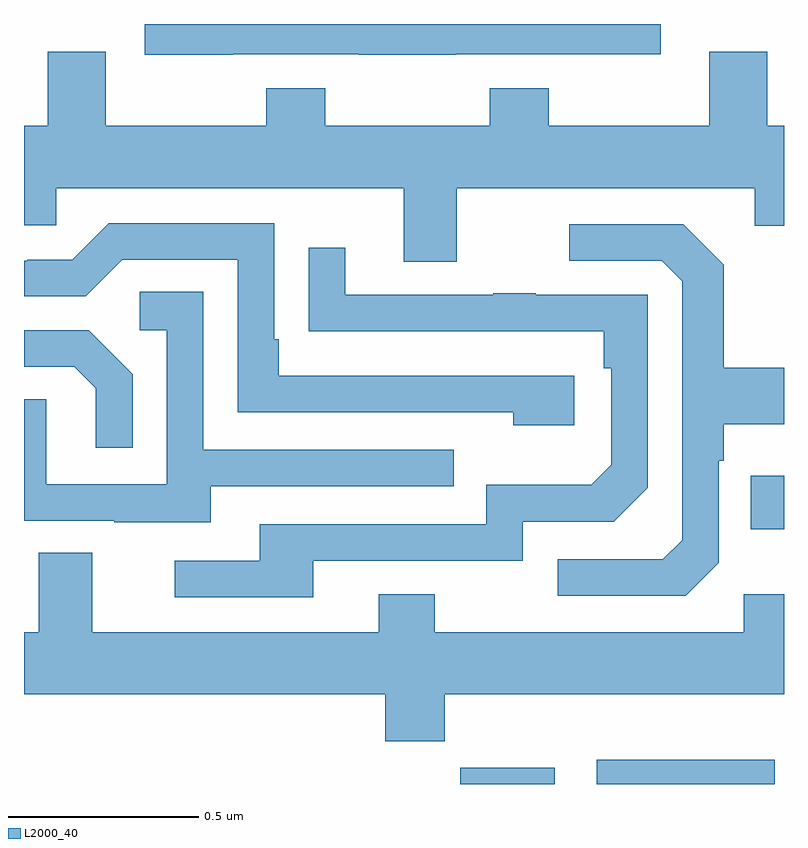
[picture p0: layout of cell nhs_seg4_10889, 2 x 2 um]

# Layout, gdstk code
import gdstk
lib = gdstk.Library(unit=1e-6, precision=1e-09)
def R(c, l, rs):  # rectangles x0, y0, x1, y1
    for r in rs: c.add(gdstk.rectangle(r[:2], r[2:], *l))
def P(c, l, *ps):  # polygons
    for p in ps: c.add(gdstk.Polygon(p, *l))
L2000_40 = (2000, 40)

nhs_seg4_10889 = lib.new_cell('nhs_seg4_10889')
R(nhs_seg4_10889, L2000_40, [(246.148,813.9,246.397,813.943), (246.507,813.9,246.976,813.964), (246.913,814.571,247,814.711)])
P(nhs_seg4_10889, L2000_40, [(245.549,815.82),(245.881,815.82),(245.881,815.819),(246.137,815.819),(246.137,815.82),(246.676,815.82),(246.676,815.9),(245.318,815.9),(245.318,815.819),(245.549,815.819)],
  [(246.139,815.468),(246.923,815.468),(246.923,815.369),(247,815.369),(247,815.632),(246.956,815.632),(246.956,815.827),(246.803,815.827),(246.803,815.632),(246.381,815.632),(246.381,815.731),(246.226,815.731),(246.226,815.632),(245.793,815.632),(245.793,815.731),(245.638,815.731),(245.638,815.632),(245.215,815.632),(245.215,815.827),(245.063,815.827),(245.063,815.632),(245,815.632),(245,815.37),(245.085,815.37),(245.085,815.468),(245.999,815.468),(245.999,815.274),(246.139,815.274)],
  [(246.448,814.974),(245.671,814.974),(245.671,815.071),(245.658,815.071),(245.658,815.376),(245.223,815.376),(245.127,815.28),(245.009,815.28),(245.009,815.277),(245,815.277),(245,815.184),(245.163,815.184),(245.259,815.28),(245.562,815.28),(245.562,814.878),(246.287,814.878),(246.287,814.844),(246.448,814.844)],
  [(246.828,814.482),(246.828,814.751),(246.841,814.751),(246.841,814.847),(247,814.847),(247,814.995),(246.841,814.995),(246.841,815.267),(246.735,815.373),(246.435,815.373),(246.435,815.277),(246.678,815.277),(246.732,815.223),(246.732,814.542),(246.681,814.491),(246.405,814.491),(246.405,814.395),(246.741,814.395)],
  [(245.761,814.488),(246.312,814.488),(246.312,814.59),(246.552,814.59),(246.642,814.68),(246.642,815.187),(246.347,815.187),(246.347,815.192),(246.235,815.192),(246.235,815.187),(245.845,815.187),(245.845,815.311),(245.749,815.311),(245.749,815.092),(245.851,815.092),(245.851,815.091),(246.526,815.091),(246.526,814.994),(246.546,814.994),(246.546,814.74),(246.493,814.687),(246.216,814.687),(246.216,814.584),(245.621,814.584),(245.621,814.488),(245.397,814.488),(245.397,814.392),(245.761,814.392)],
  [(245.491,814.683),(246.131,814.683),(246.131,814.779),(245.472,814.779),(245.472,815.195),(245.304,815.195),(245.304,815.094),(245.376,815.094),(245.376,814.689),(245.058,814.689),(245.058,814.913),(245,814.913),(245,814.593),(245.237,814.593),(245.237,814.589),(245.491,814.589)],
  [(245.286,814.978),(245.17,815.094),(245,815.094),(245,814.998),(245.132,814.998),(245.189,814.941),(245.189,814.785),(245.286,814.785)],
  [(245.933,814.399),(245.933,814.3),(245.179,814.3),(245.179,814.508),(245.039,814.508),(245.039,814.3),(245,814.3),(245,814.136),(245.951,814.136),(245.951,814.012),(246.107,814.012),(246.107,814.136),(247,814.136),(247,814.399),(246.894,814.399),(246.894,814.3),(246.081,814.3),(246.081,814.399)])

lib.write_gds('nhs_seg4_10889.gds')
